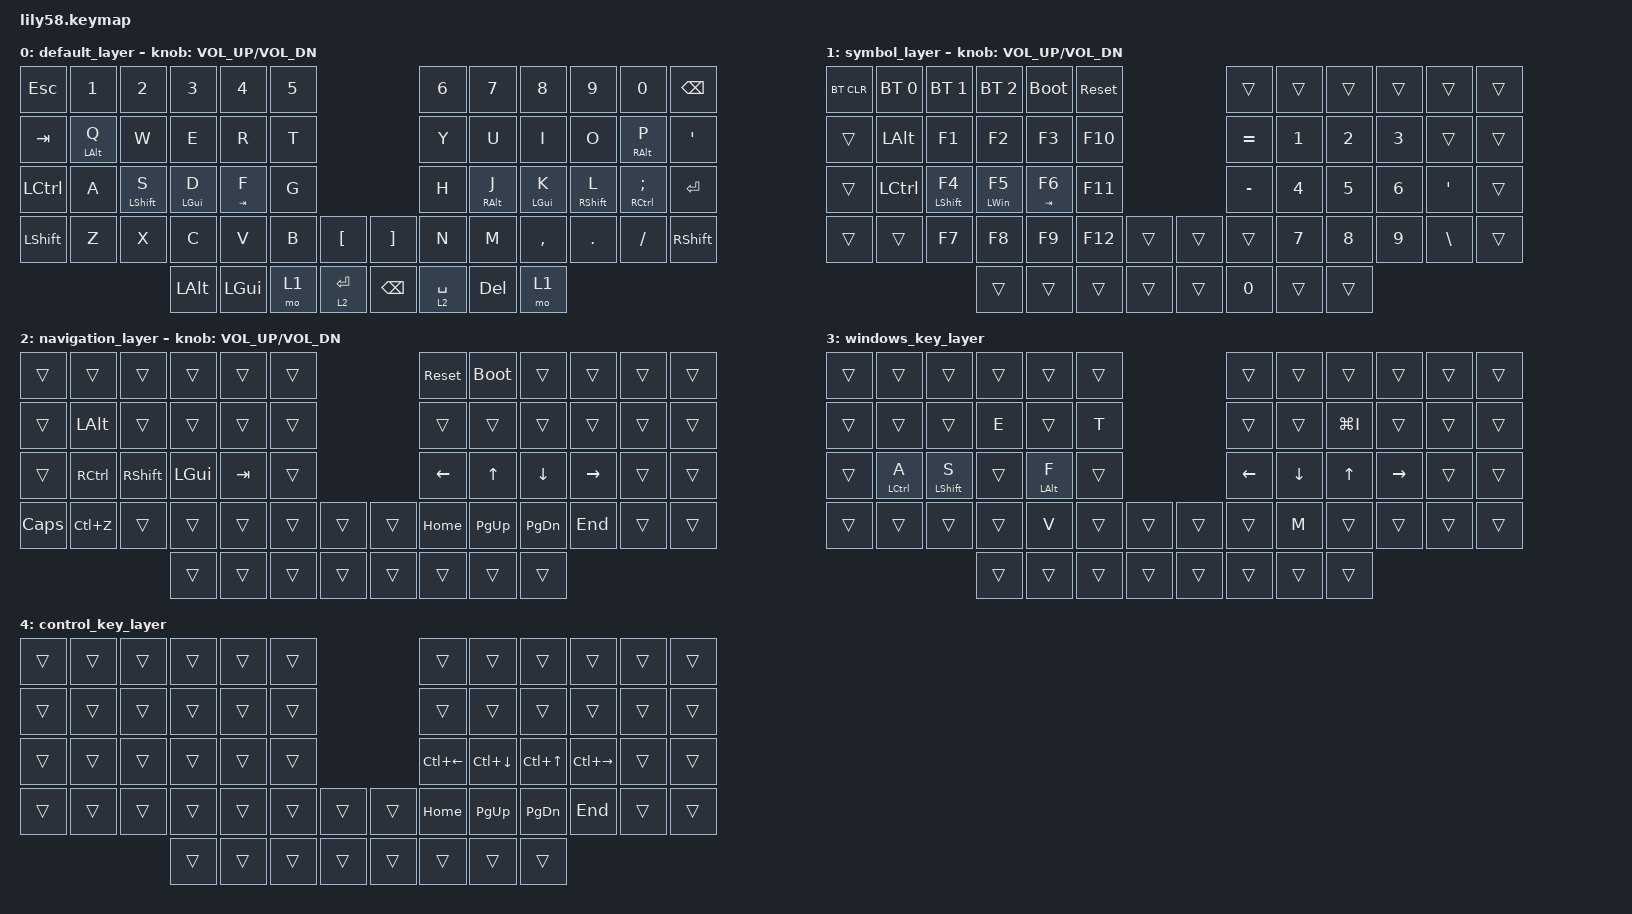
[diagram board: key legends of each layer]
/*
 * Copyright (c) 2020 The ZMK Contributors
 *
 * SPDX-License-Identifier: MIT
 */

#include <behaviors.dtsi>
#include <dt-bindings/zmk/bt.h>
#include <dt-bindings/zmk/keys.h>

&mt {
    flavor = "tap-preferred";
    tapping-term-ms = <150>;
};

&lt { flavor = "hold-preferred"; };

/ {
    macros {
        windows_hold: windows_hold {
            compatible = "zmk,behavior-macro";
            #binding-cells = <0>;
            bindings = <&lt 3 D &kp LEFT_GUI>;
            label = "WINDOWS_HOLD";
        };
    };

    keymap {
        compatible = "zmk,keymap";

        default_layer {
            // ------------------------------------------------------------------------------------------------------------
            // |  ESC  |  1  |  2  |  3   |  4   |  5   |                   |  6   |  7    |  8    |  9   |   0   |   `   |
            // |  TAB  |  Q  |  W  |  E   |  R   |  T   |                   |  Y   |  U    |  I    |  O   |   P   |   -   |
            // |  CTRL |  A  |  S  |  D   |  F   |  G   |                   |  H   |  J    |  K    |  L   |   ;   |   '   |
            // | SHIFT |  Z  |  X  |  C   |  V   |  B   |   "["  |  |  "]"  |  N   |  M    |  ,    |  .   |   /   | SHIFT |
            //                     | ALT  | GUI  | LOWER|  SPACE |  | ENTER | RAISE| BSPC  | GUI   |

            bindings = <
&kp ESC    &kp N1          &kp N2            &kp N3          &kp N4     &kp N5                                &kp N6       &kp N7           &kp N8          &kp N9             &kp N0                       &kp BACKSPACE
&kp TAB    &mt LEFT_ALT Q  &kp W             &kp E           &kp R      &kp T                                 &kp Y        &kp U            &kp I           &kp O              &mt RIGHT_ALT P              &kp SINGLE_QUOTE
&kp LCTRL  &kp A           &mt LEFT_SHIFT S  &mt LEFT_GUI D  &mt TAB F  &kp G                                 &kp H        &mt RIGHT_ALT J  &mt LEFT_GUI K  &mt RIGHT_SHIFT L  &mt RIGHT_CONTROL SEMICOLON  &kp ENTER
&kp LSHFT  &kp Z           &kp X             &kp C           &kp V      &kp B   &kp LBKT       &kp RBKT       &kp N        &kp M            &kp COMMA       &kp DOT            &kp FSLH                     &kp RSHFT
                                             &kp LALT        &kp LGUI   &mo 1   &lt 2 ENTER    &kp BACKSPACE  &lt 2 SPACE  &kp DELETE       &mo 1
            >;

            sensor-bindings = <&inc_dec_kp C_VOL_UP C_VOL_DN>;
        };

        symbol_layer {
            // ------------------------------------------------------------------------------------------------------------
            // | BTCLR | BT1 | BT2 |  BT3 |  BT4 |  BT5 |                   |      |       |       |      |       |       |
            // |  F1   |  F2 |  F3 |  F4  |  F5  |  F6  |                   |  F7  |  F8   |  F9   |  F10 |  F11  |  F12  |
            // |   `   |  !  |  @  |  #   |  $   |  %   |                   |  ^   |  &    |  *    |  (   |   )   |   ~   |
            // |       |     |     |      |      |      |        |  |       |      |  _    |  +    |  {   |   }   |  "|"  |
            //                     |      |      |      |        |  |       |      |       |       |

            bindings = <
&bt BT_CLR  &bt BT_SEL 0      &bt BT_SEL 1       &bt BT_SEL 2     &bootloader  &sys_reset                    &trans     &trans  &trans  &trans  &trans         &trans
&trans      &kp LEFT_ALT      &kp F1             &kp F2           &kp F3       &kp F10                       &kp EQUAL  &kp N1  &kp N2  &kp N3  &trans         &trans
&trans      &kp LEFT_CONTROL  &mt LEFT_SHIFT F4  &mt LEFT_WIN F5  &mt TAB F6   &kp F11                       &kp MINUS  &kp N4  &kp N5  &kp N6  &kp SQT        &trans
&trans      &trans            &kp F7             &kp F8           &kp F9       &kp F12     &trans    &trans  &trans     &kp N7  &kp N8  &kp N9  &kp BACKSLASH  &trans
                                                 &trans           &trans       &trans      &trans    &trans  &kp N0     &trans  &trans
            >;

            sensor-bindings = <&inc_dec_kp C_VOL_UP C_VOL_DN>;
        };

        navigation_layer {
            // ------------------------------------------------------------------------------------------------------------
            // |       |     |     |      |      |      |                   |      |       |       |      |       |       |
            // |   `   |  1  |  2  |  3   |  4   |  5   |                   |  6   |   7   |   8   |  9   |   0   |       |
            // |   F1  |  F2 |  F3 |  F4  |  F5  |  F6  |                   |      |   <-  |   v   |  ^   |  ->   |       |
            // |   F7  |  F8 |  F9 |  F10 |  F11 |  F12 |        |  |       |  +   |   -   |   =   |  [   |   ]   |   \   |
            //                     |      |      |      |        |  |       |      |       |       |

            bindings = <
&trans        &trans        &trans     &trans    &trans   &trans                    &sys_reset  &bootloader  &trans     &trans           &trans  &trans
&trans        &kp LEFT_ALT  &trans     &trans    &trans   &trans                    &trans      &trans       &trans     &trans           &trans  &trans
&trans        &kp RCTRL     &kp RSHFT  &kp LGUI  &kp TAB  &trans                    &kp LEFT    &kp UP       &kp DOWN   &kp RIGHT_ARROW  &trans  &trans
&kp CAPSLOCK  &kp LC(Z)     &trans     &trans    &trans   &trans  &trans    &trans  &kp HOME    &kp PG_UP    &kp PG_DN  &kp END          &trans  &trans
                                       &trans    &trans   &trans  &trans    &trans  &trans      &trans       &trans
            >;

            sensor-bindings = <&inc_dec_kp C_VOL_UP C_VOL_DN>;
        };

        windows_key_layer {
            bindings = <
&trans  &trans              &trans            &trans  &trans          &trans                    &trans    &trans    &trans     &trans     &trans  &trans
&trans  &trans              &trans            &kp E   &trans          &kp T                     &trans    &trans    &kp LG(I)  &trans     &trans  &trans
&trans  &mt LEFT_CONTROL A  &mt LEFT_SHIFT S  &trans  &mt LEFT_ALT F  &trans                    &kp LEFT  &kp DOWN  &kp UP     &kp RIGHT  &trans  &trans
&trans  &trans              &trans            &trans  &kp V           &trans  &trans    &trans  &trans    &kp M     &trans     &trans     &trans  &trans
                                              &trans  &trans          &trans  &trans    &trans  &trans    &trans    &trans
            >;
        };

        control_key_layer {
            bindings = <
&trans  &trans  &trans  &trans  &trans  &trans                    &trans        &trans        &trans      &trans         &trans  &trans
&trans  &trans  &trans  &trans  &trans  &trans                    &trans        &trans        &trans      &trans         &trans  &trans
&trans  &trans  &trans  &trans  &trans  &trans                    &kp LC(LEFT)  &kp LC(DOWN)  &kp LC(UP)  &kp LC(RIGHT)  &trans  &trans
&trans  &trans  &trans  &trans  &trans  &trans  &trans    &trans  &kp HOME      &kp PG_UP     &kp PG_DN   &kp END        &trans  &trans
                        &trans  &trans  &trans  &trans    &trans  &trans        &trans        &trans
            >;
        };
    };
};
